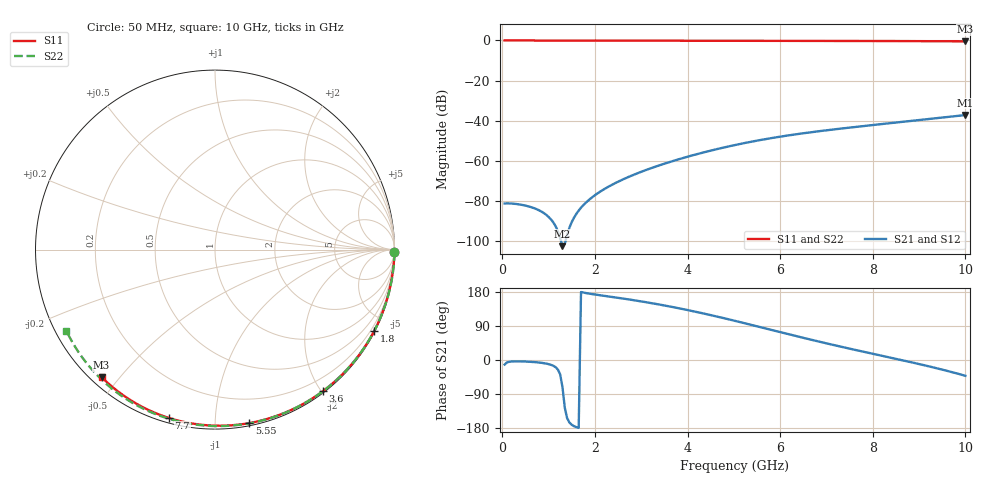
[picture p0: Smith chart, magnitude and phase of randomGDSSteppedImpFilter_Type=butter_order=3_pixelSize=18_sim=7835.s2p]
! freq	dB(S11)	phase(S11)	dB(S12)	phase(S12)
!  dB(S21)	phase(S21)	dB(S22)	phase(S22)
!S-par simulation data
#  GHz  S  DB  R 50
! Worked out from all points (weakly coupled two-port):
!   200 points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, 50 MHz to 10 GHz, reference 50 ohm
!   highest |S21| = -37.17 dB at 10 GHz (marker M1); lowest = -102.4 dB at 1.3 GHz (marker M2)
!   lowest |S11| = -0.4 dB at 10 GHz (marker M3), VSWR 39.61, Z = 1.52 - j22.4 ohm
!   |S11| at or under -10 dB: nowhere
!   |S22| runs from -0.5 to 0.0 dB; largest |S21 - S12| = 0
!   S11 on the Smith chart (normalised r, x): 50 MHz: open; 1.8 GHz: 0.04, -4.17; 3.6 GHz: 0.02, -2.02; 5.55 GHz: 0.02, -1.22; 7.7 GHz: 0.02, -0.76; 10 GHz: 0.03, -0.45
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0.05  -0.00 -0.8  -81.22 -12.1  -81.22 -12.1  -0.00 -0.9
0.65  -0.02 -9.9  -83.21 -5.1  -83.21 -5.1  -0.01 -11.3
1.3  -0.03 -19.6  -102.45 -72.2  -102.45 -72.2  -0.03 -22.4
1.75  -0.03 -26.3  -82.03 178.0  -82.03 178.0  -0.04 -30.0
1.8  -0.03 -27.0  -80.88 176.8  -80.88 176.8  -0.04 -30.8
1.85  -0.03 -27.7  -79.82 175.7  -79.82 175.7  -0.04 -31.7
2  -0.04 -29.9  -77.07 172.8  -77.07 172.8  -0.04 -34.2
2.15  -0.04 -32.1  -74.75 170.2  -74.75 170.2  -0.05 -36.7
2.3  -0.04 -34.3  -72.72 167.6  -72.72 167.6  -0.05 -39.2
2.5  -0.05 -37.2  -70.34 164.1  -70.34 164.1  -0.05 -42.5
2.9  -0.06 -42.9  -66.31 156.6  -66.31 156.6  -0.06 -49.0
3.4  -0.07 -50.0  -62.12 146.2  -62.12 146.2  -0.08 -57.0
3.6  -0.07 -52.8  -60.64 141.6  -60.64 141.6  -0.08 -60.2
4.3  -0.09 -62.4  -56.03 124.0  -56.03 124.0  -0.10 -71.0
5.05  -0.11 -72.3  -51.95 102.6  -51.95 102.6  -0.13 -82.3
5.55  -0.13 -78.8  -49.68 87.4  -49.68 87.4  -0.15 -89.6
6.1  -0.15 -85.8  -47.55 70.6  -47.55 70.6  -0.17 -97.6
6.7  -0.18 -93.2  -45.61 52.6  -45.61 52.6  -0.21 -106.0
7.7  -0.24 -105.3  -42.88 24.5  -42.88 24.5  -0.28 -119.8
8.35  -0.29 -112.9  -41.24 7.1  -41.24 7.1  -0.33 -128.7
9.2  -0.36 -122.7  -39.09 -16.4  -39.09 -16.4  -0.41 -140.3
10  -0.44 -131.6  -37.17 -41.7  -37.17 -41.7  -0.50 -151.3
